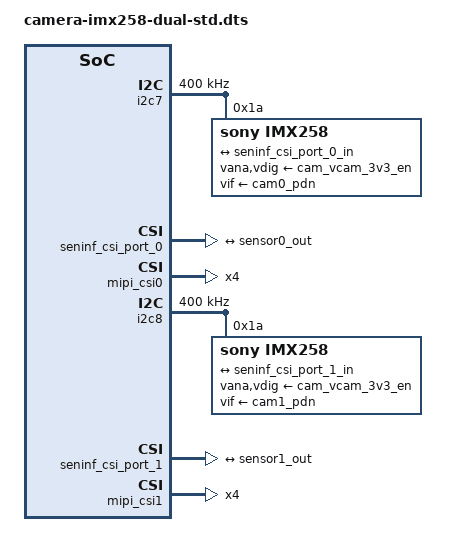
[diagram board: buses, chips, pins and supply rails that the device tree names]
// SPDX-License-Identifier: GPL-2.0
/*
 * Copyright (c) 2025 MediaTek Inc.
 *
 */

/dts-v1/;
/plugin/;

#include <dt-bindings/clock/mediatek,mt8189-clk.h>
#include "camera-common-std.dtsi"

/ {
	fragment@3 {
		target = <&i2c7>;
		__overlay__ {
			clock-frequency = <400000>;

			imx258@1a {
				compatible = "sony,imx258";

				reg = <0x1a>;

				pinctrl-names = "default";
				pinctrl-0 = <&cam0_default_pins_pwr_en &cam0_default_pins_mclk>;

				clocks = <&vlp_cksys_clk CLK_VLP_CK_CAMTG0_SEL>;
				assigned-clocks = <&vlp_cksys_clk CLK_VLP_CK_CAMTG0_SEL>;
				assigned-clock-parents = <&topckgen_clk CLK_TOP_UNIVPLL_192M_D8>;

				vana-supply = <&cam_vcam_3v3_en>;
				vdig-supply = <&cam_vcam_3v3_en>;
				vif-supply = <&cam0_pdn>;

				port {
					sensor0_out: endpoint {
						remote-endpoint = <&seninf_csi_port_0_in>;
						data-lanes = <1 2 3 4>;
					};
				};
			};
		};
	};

	fragment@4 {
		target = <&seninf_csi_port_0>;
		__overlay__ {
			settle_delay_ck = <0x20>;
			dphy_settle_delay_dt = <0x20>;
			status = "okay";
			ports {
				port@0 {
					seninf_csi_port_0_in: endpoint {
						data-lanes = <1 2 3 4>;
						remote-endpoint = <&sensor0_out>;
					};
				};
			};
		};
	};

	fragment@5 {
		target = <&mipi_csi0>;
		__overlay__ {
			status = "okay";
			num-lanes = <4>;
		};
	};

	fragment@6 {
		target = <&i2c8>;
		__overlay__ {
			clock-frequency = <400000>;

			imx258@1a {
				compatible = "sony,imx258";

				reg = <0x1a>;

				pinctrl-names = "default";
				pinctrl-0 = <&cam1_default_pins_pwr_en &cam1_default_pins_mclk>;

				clocks = <&vlp_cksys_clk CLK_VLP_CK_CAMTG1_SEL>;
				assigned-clocks = <&vlp_cksys_clk CLK_VLP_CK_CAMTG1_SEL>;
				assigned-clock-parents = <&topckgen_clk CLK_TOP_UNIVPLL_192M_D8>;

				vana-supply = <&cam_vcam_3v3_en>;
				vdig-supply = <&cam_vcam_3v3_en>;
				vif-supply = <&cam1_pdn>;

				port {
					sensor1_out: endpoint {
						remote-endpoint = <&seninf_csi_port_1_in>;
						data-lanes = <1 2 3 4>;
					};
				};
			};
		};
	};

	fragment@7 {
		target = <&seninf_csi_port_1>;
		__overlay__ {
			settle_delay_ck = <0x20>;
			dphy_settle_delay_dt = <0x20>;
			status = "okay";
			ports {
				port@0 {
					seninf_csi_port_1_in: endpoint {
						data-lanes = <1 2 3 4>;
						remote-endpoint = <&sensor1_out>;
					};
				};
			};
		};
	};

	fragment@8 {
		target = <&mipi_csi1>;
		__overlay__ {
			status = "okay";
			num-lanes = <4>;
		};
	};
};
